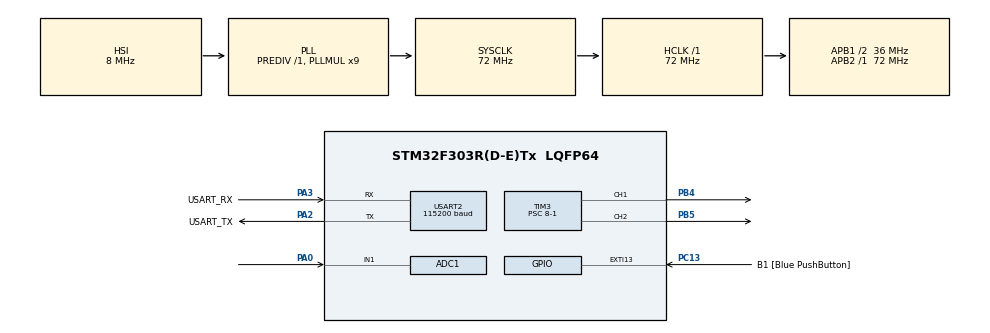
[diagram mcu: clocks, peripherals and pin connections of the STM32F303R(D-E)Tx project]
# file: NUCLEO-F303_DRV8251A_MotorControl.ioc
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ADC1.Channel-0\#ChannelRegularConversion=ADC_CHANNEL_1
ADC1.ClockPrescaler=ADC_CLOCK_SYNC_PCLK_DIV2
ADC1.ContinuousConvMode=ENABLE
ADC1.DMAContinuousRequests=ENABLE
ADC1.NbrOfConversionFlag=1
ADC1.Offset-0\#ChannelRegularConversion=0
ADC1.OffsetNumber-0\#ChannelRegularConversion=ADC_OFFSET_NONE
ADC1.Rank-0\#ChannelRegularConversion=1
ADC1.SamplingTime-0\#ChannelRegularConversion=ADC_SAMPLETIME_181CYCLES_5
ADC1.SamplingTimeOPAMP-0\#ChannelRegularConversion=ADC_SAMPLETIME_61CYCLES_5
ADC1.master=1
Dma.ADC1.0.Direction=DMA_PERIPH_TO_MEMORY
Dma.ADC1.0.Instance=DMA1_Channel1
Dma.ADC1.0.MemDataAlignment=DMA_MDATAALIGN_HALFWORD
Dma.ADC1.0.MemInc=DMA_MINC_ENABLE
Dma.ADC1.0.Mode=DMA_CIRCULAR
Dma.ADC1.0.PeriphDataAlignment=DMA_PDATAALIGN_HALFWORD
Dma.ADC1.0.PeriphInc=DMA_PINC_DISABLE
Dma.ADC1.0.Priority=DMA_PRIORITY_LOW
Dma.Request0=ADC1
Mcu.Family=STM32F3
Mcu.Name=STM32F303R(D-E)Tx
Mcu.Package=LQFP64
NVIC.DMA1_Channel1_IRQn=true\:0\:0\:false\:false\:true\:false\:true\:true
NVIC.PriorityGroup=NVIC_PRIORITYGROUP_0
NVIC.TIM2_IRQn=true\:0\:0\:false\:false\:true\:true\:true\:true
PA0.Mode=IN1-Single-Ended
PA0.Signal=ADC1_IN1
PA13.GPIO_Label=TMS
PA13.Mode=Serial_Wire
PA13.Signal=SYS_JTMS-SWDIO
PA14.GPIO_Label=TCK
PA14.Mode=Serial_Wire
PA14.Signal=SYS_JTCK-SWCLK
PA2.GPIO_Label=USART_TX
PA2.GPIO_Mode=GPIO_MODE_AF_PP
PA2.GPIO_PuPd=GPIO_NOPULL
PA2.GPIO_Speed=GPIO_SPEED_FREQ_LOW
PA2.Mode=Asynchronous
PA2.Signal=USART2_TX
PA3.GPIO_Label=USART_RX
PA3.GPIO_Mode=GPIO_MODE_AF_PP
PA3.GPIO_PuPd=GPIO_NOPULL
PA3.GPIO_Speed=GPIO_SPEED_FREQ_LOW
PA3.Mode=Asynchronous
PA3.Signal=USART2_RX
PB3.GPIO_Label=SWO
PB3.Signal=SYS_JTDO-TRACESWO
PB4.Signal=S_TIM3_CH1
PB5.Signal=S_TIM3_CH2
PC13.GPIO_Label=B1 [Blue PushButton]
PC13.GPIO_ModeDefaultEXTI=GPIO_MODE_IT_FALLING
PC13.Signal=GPXTI13
PC14-OSC32_IN.Mode=LSE-External-Oscillator
PC14-OSC32_IN.Signal=RCC_OSC32_IN
PC15-OSC32_OUT.Mode=LSE-External-Oscillator
PC15-OSC32_OUT.Signal=RCC_OSC32_OUT
PF0-OSC_IN.Mode=HSE-External-Clock-Source
PF0-OSC_IN.Signal=RCC_OSC_IN
PF1-OSC_OUT.Signal=RCC_OSC_OUT
ProjectManager.HeapSize=0x200
ProjectManager.StackSize=0x400
ProjectManager.TargetToolchain=CMake
RCC.AHBFreq_Value=72000000
RCC.APB1CLKDivider=RCC_HCLK_DIV2
RCC.APB1Freq_Value=36000000
RCC.APB1TimFreq_Value=72000000
RCC.APB2Freq_Value=72000000
RCC.APB2TimFreq_Value=72000000
RCC.CortexFreq_Value=72000000
RCC.HCLKFreq_Value=72000000
RCC.HSE_VALUE=8000000
RCC.HSI_VALUE=8000000
RCC.PLLM=8
RCC.PLLMUL=RCC_PLL_MUL9
RCC.PLLN=336
RCC.PLLP=RCC_PLLP_DIV4
RCC.PLLQ=7
RCC.RCC_PLLsource_Clock_Source_FROM_HSE=RCC_HSE_PREDIV_DIV2
RCC.SYSCLKFreq_VALUE=72000000
RCC.SYSCLKSourceVirtual=RCC_SYSCLKSOURCE_PLLCLK
RCC.USBFreq_Value=72000000
SH.S_TIM3_CH1.0=TIM3_CH1,PWM Generation1 CH1
SH.S_TIM3_CH2.0=TIM3_CH2,PWM Generation2 CH2
TIM2.Period=50000-1
TIM2.Prescaler=144-1
TIM3.Channel-PWM\ Generation1\ CH1=TIM_CHANNEL_1
TIM3.Channel-PWM\ Generation2\ CH2=TIM_CHANNEL_2
TIM3.Period=500-1
TIM3.Prescaler=8-1
USART2.BaudRate=115200
USART2.VirtualMode-Asynchronous=VM_ASYNC
VP_TIM2_VS_ClockSourceINT.Mode=Internal
VP_TIM3_VS_ClockSourceINT.Mode=Internal
board=NUCLEO-F303RE

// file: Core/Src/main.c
/* USER CODE BEGIN Header */
/**
  ******************************************************************************
  * @file           : main.c
  * @brief          : Main program body
  ******************************************************************************
  * @attention
  *
  * Copyright (c) 2026 STMicroelectronics.
  * All rights reserved.
  *
  * This software is licensed under terms that can be found in the LICENSE file
  * in the root directory of this software component.
  * If no LICENSE file comes with this software, it is provided AS-IS.
  *
  ******************************************************************************
  */
/* USER CODE END Header */
#include "main.h"

/* USER CODE BEGIN Includes */
#include "DRV8251A.h"
#include "stm32f303xe.h"
#include "stm32f3xx_hal_tim.h"
#include <stdio.h>
#include <string.h>
/* USER CODE END Includes */

/* USER CODE BEGIN PD */
#define ADC_BUF_SIZE 16
/* USER CODE END PD */

ADC_HandleTypeDef hadc1;
DMA_HandleTypeDef hdma_adc1;

TIM_HandleTypeDef htim2;
TIM_HandleTypeDef htim3;

UART_HandleTypeDef huart2;

/* USER CODE BEGIN PV */
DRV8251A_HandleTypeDef motor;
uint16_t adc_dma_buffer[ADC_BUF_SIZE]; // El buffer en la RAM
char msg[64];

static volatile _Bool counterTriggered = 0;
/* USER CODE END PV */

void SystemClock_Config(void);
static void MX_GPIO_Init(void);
static void MX_DMA_Init(void);
static void MX_ADC1_Init(void);
static void MX_TIM3_Init(void);
static void MX_USART2_UART_Init(void);
static void MX_TIM2_Init(void);
/* USER CODE BEGIN PFP */
void Task_Motor(void);
/* USER CODE END PFP */

int main(void)
{

  /* MCU Configuration--------------------------------------------------------*/

  /* Reset of all peripherals, Initializes the Flash interface and the Systick. */
  HAL_Init();

  /* Configure the system clock */
  SystemClock_Config();

  /* Initialize all configured peripherals */
  MX_GPIO_Init();
  MX_DMA_Init();
  MX_ADC1_Init();
  MX_TIM3_Init();
  MX_USART2_UART_Init();
  MX_TIM2_Init();
  /* USER CODE BEGIN 2 */
  motor.htim = &htim3;
  motor.channel1 = TIM_CHANNEL_1; // IN1 -> PB4
  motor.channel2 = TIM_CHANNEL_2; // IN2 -> PB5
  motor.max_duty = htim3.Instance->ARR;
  motor.nFaultPort = GPIOC;
  motor.nFaultPin = GPIO_PIN_13;

  motor.hadc = &hadc1;
  motor.adc_buffer = adc_dma_buffer; // Puntero al buffer
  motor.adc_buffer_size = ADC_BUF_SIZE;
  motor.r_ipropi = 1000.0f;
  motor.vref = 3.3f;

  DRV8251A_Init(&motor);

  HAL_ADC_Start_DMA(&hadc1, (uint32_t*)adc_dma_buffer, ADC_BUF_SIZE);

  HAL_TIM_Base_Start_IT(&htim2);

  // Arrancar el motor
  DRV8251A_SetSpeed(&motor, 1000); // 60% adelante

  /* USER CODE END 2 */

  /* Infinite loop */
  /* USER CODE BEGIN WHILE */
  while (1)
  {
    Task_Motor();
    /* USER CODE END WHILE */

  }
}

void SystemClock_Config(void)
{
  RCC_OscInitTypeDef RCC_OscInitStruct = {0};
  RCC_ClkInitTypeDef RCC_ClkInitStruct = {0};
  RCC_PeriphCLKInitTypeDef PeriphClkInit = {0};

  /** Initializes the RCC Oscillators according to the specified parameters
  * in the RCC_OscInitTypeDef structure.
  */
  RCC_OscInitStruct.OscillatorType = RCC_OSCILLATORTYPE_HSI;
  RCC_OscInitStruct.HSIState = RCC_HSI_ON;
  RCC_OscInitStruct.HSICalibrationValue = RCC_HSICALIBRATION_DEFAULT;
  RCC_OscInitStruct.PLL.PLLState = RCC_PLL_ON;
  RCC_OscInitStruct.PLL.PLLSource = RCC_PLLSOURCE_HSI;
  RCC_OscInitStruct.PLL.PLLMUL = RCC_PLL_MUL9;
  RCC_OscInitStruct.PLL.PREDIV = RCC_PREDIV_DIV1;
  if (HAL_RCC_OscConfig(&RCC_OscInitStruct) != HAL_OK)
  {
    Error_Handler();
  }

  /** Initializes the CPU, AHB and APB buses clocks
  */
  RCC_ClkInitStruct.ClockType = RCC_CLOCKTYPE_HCLK|RCC_CLOCKTYPE_SYSCLK
                              |RCC_CLOCKTYPE_PCLK1|RCC_CLOCKTYPE_PCLK2;
  RCC_ClkInitStruct.SYSCLKSource = RCC_SYSCLKSOURCE_PLLCLK;
  RCC_ClkInitStruct.AHBCLKDivider = RCC_SYSCLK_DIV1;
  RCC_ClkInitStruct.APB1CLKDivider = RCC_HCLK_DIV2;
  RCC_ClkInitStruct.APB2CLKDivider = RCC_HCLK_DIV1;

  if (HAL_RCC_ClockConfig(&RCC_ClkInitStruct, FLASH_LATENCY_2) != HAL_OK)
  {
    Error_Handler();
  }
  PeriphClkInit.PeriphClockSelection = RCC_PERIPHCLK_USART2|RCC_PERIPHCLK_TIM2
                              |RCC_PERIPHCLK_TIM34;
  PeriphClkInit.Usart2ClockSelection = RCC_USART2CLKSOURCE_PCLK1;
  PeriphClkInit.Tim2ClockSelection = RCC_TIM2CLK_HCLK;
  PeriphClkInit.Tim34ClockSelection = RCC_TIM34CLK_HCLK;
  if (HAL_RCCEx_PeriphCLKConfig(&PeriphClkInit) != HAL_OK)
  {
    Error_Handler();
  }
}

static void MX_ADC1_Init(void)
{

  ADC_MultiModeTypeDef multimode = {0};
  ADC_ChannelConfTypeDef sConfig = {0};

  /** Common config
  */
  hadc1.Instance = ADC1;
  hadc1.Init.ClockPrescaler = ADC_CLOCK_SYNC_PCLK_DIV2;
  hadc1.Init.Resolution = ADC_RESOLUTION_12B;
  hadc1.Init.ScanConvMode = ADC_SCAN_DISABLE;
  hadc1.Init.ContinuousConvMode = ENABLE;
  hadc1.Init.DiscontinuousConvMode = DISABLE;
  hadc1.Init.ExternalTrigConvEdge = ADC_EXTERNALTRIGCONVEDGE_NONE;
  hadc1.Init.ExternalTrigConv = ADC_SOFTWARE_START;
  hadc1.Init.DataAlign = ADC_DATAALIGN_RIGHT;
  hadc1.Init.NbrOfConversion = 1;
  hadc1.Init.DMAContinuousRequests = ENABLE;
  hadc1.Init.EOCSelection = ADC_EOC_SINGLE_CONV;
  hadc1.Init.LowPowerAutoWait = DISABLE;
  hadc1.Init.Overrun = ADC_OVR_DATA_OVERWRITTEN;
  if (HAL_ADC_Init(&hadc1) != HAL_OK)
  {
    Error_Handler();
  }

  /** Configure the ADC multi-mode
  */
  multimode.Mode = ADC_MODE_INDEPENDENT;
  if (HAL_ADCEx_MultiModeConfigChannel(&hadc1, &multimode) != HAL_OK)
  {
    Error_Handler();
  }

  /** Configure Regular Channel
  */
  sConfig.Channel = ADC_CHANNEL_1;
  sConfig.Rank = ADC_REGULAR_RANK_1;
  sConfig.SingleDiff = ADC_SINGLE_ENDED;
  sConfig.SamplingTime = ADC_SAMPLETIME_181CYCLES_5;
  sConfig.OffsetNumber = ADC_OFFSET_NONE;
  sConfig.Offset = 0;
  if (HAL_ADC_ConfigChannel(&hadc1, &sConfig) != HAL_OK)
  {
    Error_Handler();
  }

}

static void MX_TIM2_Init(void)
{

  TIM_ClockConfigTypeDef sClockSourceConfig = {0};
  TIM_MasterConfigTypeDef sMasterConfig = {0};

  htim2.Instance = TIM2;
  htim2.Init.Prescaler = 144-1;
  htim2.Init.CounterMode = TIM_COUNTERMODE_UP;
  htim2.Init.Period = 50000-1;
  htim2.Init.ClockDivision = TIM_CLOCKDIVISION_DIV1;
  htim2.Init.AutoReloadPreload = TIM_AUTORELOAD_PRELOAD_DISABLE;
  if (HAL_TIM_Base_Init(&htim2) != HAL_OK)
  {
    Error_Handler();
  }
  sClockSourceConfig.ClockSource = TIM_CLOCKSOURCE_INTERNAL;
  if (HAL_TIM_ConfigClockSource(&htim2, &sClockSourceConfig) != HAL_OK)
  {
    Error_Handler();
  }
  sMasterConfig.MasterOutputTrigger = TIM_TRGO_RESET;
  sMasterConfig.MasterSlaveMode = TIM_MASTERSLAVEMODE_DISABLE;
  if (HAL_TIMEx_MasterConfigSynchronization(&htim2, &sMasterConfig) != HAL_OK)
  {
    Error_Handler();
  }

}

static void MX_TIM3_Init(void)
{

  TIM_ClockConfigTypeDef sClockSourceConfig = {0};
  TIM_MasterConfigTypeDef sMasterConfig = {0};
  TIM_OC_InitTypeDef sConfigOC = {0};

  htim3.Instance = TIM3;
  htim3.Init.Prescaler = 8-1;
  htim3.Init.CounterMode = TIM_COUNTERMODE_UP;
  htim3.Init.Period = 500-1;
  htim3.Init.ClockDivision = TIM_CLOCKDIVISION_DIV1;
  htim3.Init.AutoReloadPreload = TIM_AUTORELOAD_PRELOAD_DISABLE;
  if (HAL_TIM_Base_Init(&htim3) != HAL_OK)
  {
    Error_Handler();
  }
  sClockSourceConfig.ClockSource = TIM_CLOCKSOURCE_INTERNAL;
  if (HAL_TIM_ConfigClockSource(&htim3, &sClockSourceConfig) != HAL_OK)
  {
    Error_Handler();
  }
  if (HAL_TIM_PWM_Init(&htim3) != HAL_OK)
  {
    Error_Handler();
  }
  sMasterConfig.MasterOutputTrigger = TIM_TRGO_RESET;
  sMasterConfig.MasterSlaveMode = TIM_MASTERSLAVEMODE_DISABLE;
  if (HAL_TIMEx_MasterConfigSynchronization(&htim3, &sMasterConfig) != HAL_OK)
  {
    Error_Handler();
  }
  sConfigOC.OCMode = TIM_OCMODE_PWM1;
  sConfigOC.Pulse = 0;
  sConfigOC.OCPolarity = TIM_OCPOLARITY_HIGH;
  sConfigOC.OCFastMode = TIM_OCFAST_DISABLE;
  if (HAL_TIM_PWM_ConfigChannel(&htim3, &sConfigOC, TIM_CHANNEL_1) != HAL_OK)
  {
    Error_Handler();
  }
  if (HAL_TIM_PWM_ConfigChannel(&htim3, &sConfigOC, TIM_CHANNEL_2) != HAL_OK)
  {
    Error_Handler();
  }
  HAL_TIM_MspPostInit(&htim3);

}

static void MX_USART2_UART_Init(void)
{

  huart2.Instance = USART2;
  huart2.Init.BaudRate = 115200;
  huart2.Init.WordLength = UART_WORDLENGTH_8B;
  huart2.Init.StopBits = UART_STOPBITS_1;
  huart2.Init.Parity = UART_PARITY_NONE;
  huart2.Init.Mode = UART_MODE_TX_RX;
  huart2.Init.HwFlowCtl = UART_HWCONTROL_NONE;
  huart2.Init.OverSampling = UART_OVERSAMPLING_16;
  huart2.Init.OneBitSampling = UART_ONE_BIT_SAMPLE_DISABLE;
  huart2.AdvancedInit.AdvFeatureInit = UART_ADVFEATURE_NO_INIT;
  if (HAL_UART_Init(&huart2) != HAL_OK)
  {
    Error_Handler();
  }

}

static void MX_DMA_Init(void)
{

  /* DMA controller clock enable */
  __HAL_RCC_DMA1_CLK_ENABLE();

  /* DMA interrupt init */
  /* DMA1_Channel1_IRQn interrupt configuration */
  HAL_NVIC_SetPriority(DMA1_Channel1_IRQn, 0, 0);
  HAL_NVIC_EnableIRQ(DMA1_Channel1_IRQn);

}

static void MX_GPIO_Init(void)
{
  GPIO_InitTypeDef GPIO_InitStruct = {0};

  /* GPIO Ports Clock Enable */
  __HAL_RCC_GPIOC_CLK_ENABLE();
  __HAL_RCC_GPIOF_CLK_ENABLE();
  __HAL_RCC_GPIOA_CLK_ENABLE();
  __HAL_RCC_GPIOB_CLK_ENABLE();

  /*Configure GPIO pin : B1_Pin */
  GPIO_InitStruct.Pin = B1_Pin;
  GPIO_InitStruct.Mode = GPIO_MODE_IT_FALLING;
  GPIO_InitStruct.Pull = GPIO_NOPULL;
  HAL_GPIO_Init(B1_GPIO_Port, &GPIO_InitStruct);

}

/* USER CODE BEGIN 4 */
void HAL_TIM_PeriodElapsedCallback(TIM_HandleTypeDef *htim)
{
    if (htim->Instance == TIM2)
    {
        counterTriggered = 1;
    }
}

void Task_Motor(void)
{
    if (counterTriggered)
    {
        counterTriggered = 0;

        // Comprobar fallas críticas de hardware en el chip
        if (DRV8251A_CheckFault(&motor))
        {
            DRV8251A_Brake(&motor); // Frenado inmediato por seguridad
            snprintf(msg, sizeof(msg), "ERROR: Hardware Fault Detected!\r\n");
            HAL_UART_Transmit(&huart2, (uint8_t*)msg, strlen(msg), 100);
            return; // Salir de la función para no volver a acelerar el motor
        }

        // Medir corriente
        double current = DRV8251A_ReadCurrentDMA(&motor);

        snprintf(msg, sizeof(msg), "Current: %.3f mA\r\n", current*1000.0);
        HAL_UART_Transmit(&huart2, (uint8_t*)msg, strlen(msg), 100);

        if (current > 1.8f)
        {
            DRV8251A_Brake(&motor);
            snprintf(msg, sizeof(msg), "WARNING: Software Overcurrent Shutdown!\r\n");
            HAL_UART_Transmit(&huart2, (uint8_t*)msg, strlen(msg), 100);
        }
    }
}
/* USER CODE END 4 */

void Error_Handler(void)
{
  __disable_irq();
  while (1)
  {
  }
}
